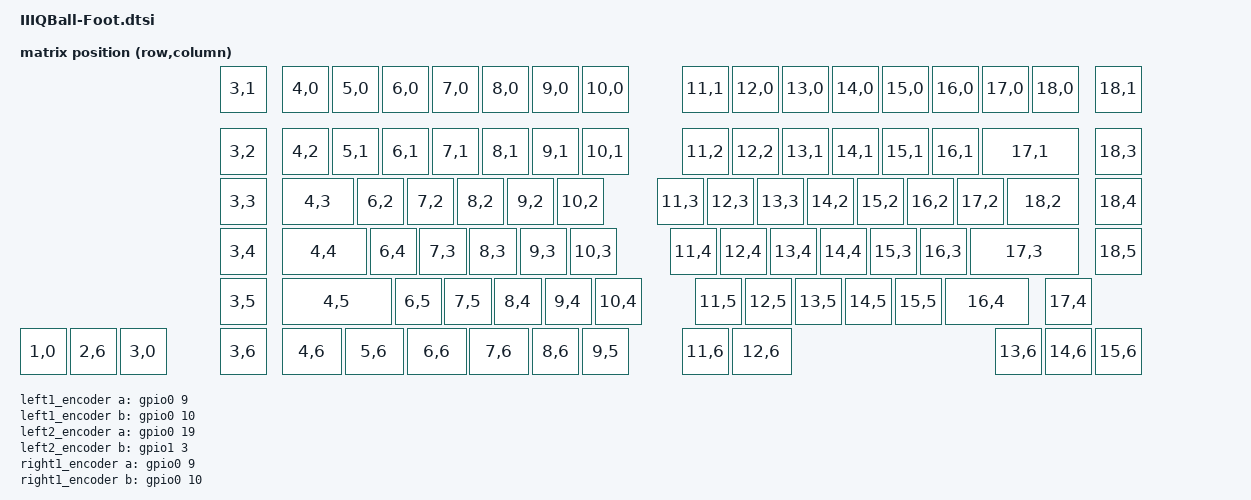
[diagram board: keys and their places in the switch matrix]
#include <dt-bindings/zmk/matrix_transform.h>
#include <dt-bindings/input/input-event-codes.h>
#include <physical_layouts.dtsi>

&uicr {
    nfct-pins-as-gpios;
};

/ {
    chosen {
        zmk,kscan = &kscan0;
        zmk,physical-layout = &physical_layout0;
    };

    physical_layout0: physical_layout0 {
        compatible = "zmk,physical-layout";
        display-name = "Default Layout";
        transform = <&default_transform>;
        kscan = <&kscan0>;
        keys  //                    w   h    x    y      rot     rx     ry
            
            = <&key_physical_attrs 100 100  400    0       0      0      0>

            , <&key_physical_attrs 100 100  525    0       0      0      0>
            , <&key_physical_attrs 100 100  625    0       0      0      0>
            , <&key_physical_attrs 100 100  725    0       0      0      0>
            , <&key_physical_attrs 100 100  825    0       0      0      0>
            , <&key_physical_attrs 100 100  925    0       0      0      0>
            , <&key_physical_attrs 100 100 1025    0       0      0      0>
            , <&key_physical_attrs 100 100 1125    0       0      0      0>

            , <&key_physical_attrs 100 100 1325    0       0      0      0>
            , <&key_physical_attrs 100 100 1425    0       0      0      0>
            , <&key_physical_attrs 100 100 1525    0       0      0      0>
            , <&key_physical_attrs 100 100 1625    0       0      0      0>
            , <&key_physical_attrs 100 100 1725    0       0      0      0>
            , <&key_physical_attrs 100 100 1825    0       0      0      0>
            , <&key_physical_attrs 100 100 1925    0       0      0      0>
            , <&key_physical_attrs 100 100 2025    0       0      0      0>

            , <&key_physical_attrs 100 100 2150    0       0      0      0>


        // Row 1
            , <&key_physical_attrs 100 100  400  125       0      0      0>

            , <&key_physical_attrs 100 100  525  125       0      0      0>
            , <&key_physical_attrs 100 100  625  125       0      0      0>
            , <&key_physical_attrs 100 100  725  125       0      0      0>
            , <&key_physical_attrs 100 100  825  125       0      0      0>
            , <&key_physical_attrs 100 100  925  125       0      0      0>
            , <&key_physical_attrs 100 100 1025  125       0      0      0>
            , <&key_physical_attrs 100 100 1125  125       0      0      0>

            , <&key_physical_attrs 100 100 1325  125       0      0      0>
            , <&key_physical_attrs 100 100 1425  125       0      0      0>
            , <&key_physical_attrs 100 100 1525  125       0      0      0>
            , <&key_physical_attrs 100 100 1625  125       0      0      0>
            , <&key_physical_attrs 100 100 1725  125       0      0      0>
            , <&key_physical_attrs 100 100 1825  125       0      0      0>
            , <&key_physical_attrs 200 100 1925  125       0      0      0>

            , <&key_physical_attrs 100 100 2150  125       0      0      0>


        // Row 2
            , <&key_physical_attrs 100 100  400  225       0      0      0>

            , <&key_physical_attrs 150 100  525  225       0      0      0>
            , <&key_physical_attrs 100 100  675  225       0      0      0>
            , <&key_physical_attrs 100 100  775  225       0      0      0>
            , <&key_physical_attrs 100 100  875  225       0      0      0>
            , <&key_physical_attrs 100 100  975  225       0      0      0>
            , <&key_physical_attrs 100 100 1075  225       0      0      0>

            , <&key_physical_attrs 100 100 1275  225       0      0      0>
            , <&key_physical_attrs 100 100 1375  225       0      0      0>
            , <&key_physical_attrs 100 100 1475  225       0      0      0>
            , <&key_physical_attrs 100 100 1575  225       0      0      0>
            , <&key_physical_attrs 100 100 1675  225       0      0      0>
            , <&key_physical_attrs 100 100 1775  225       0      0      0>
            , <&key_physical_attrs 100 100 1875  225       0      0      0>
            , <&key_physical_attrs 150 100 1975  225       0      0      0>

            , <&key_physical_attrs 100 100 2150  225       0      0      0>


        // Row 3
            , <&key_physical_attrs 100 100  400  325       0      0      0>

            , <&key_physical_attrs 175 100  525  325       0      0      0>
            , <&key_physical_attrs 100 100  700  325       0      0      0>
            , <&key_physical_attrs 100 100  800  325       0      0      0>
            , <&key_physical_attrs 100 100  900  325       0      0      0>
            , <&key_physical_attrs 100 100 1000  325       0      0      0>
            , <&key_physical_attrs 100 100 1100  325       0      0      0>

            , <&key_physical_attrs 100 100 1300  325       0      0      0>
            , <&key_physical_attrs 100 100 1400  325       0      0      0>
            , <&key_physical_attrs 100 100 1500  325       0      0      0>
            , <&key_physical_attrs 100 100 1600  325       0      0      0>
            , <&key_physical_attrs 100 100 1700  325       0      0      0>
            , <&key_physical_attrs 100 100 1800  325       0      0      0>
            , <&key_physical_attrs 225 100 1900  325       0      0      0>

            , <&key_physical_attrs 100 100 2150  325       0      0      0>


        // Row 4
            , <&key_physical_attrs 100 100  400  425       0      0      0>

            , <&key_physical_attrs 225 100  525  425       0      0      0>
            , <&key_physical_attrs 100 100  750  425       0      0      0>
            , <&key_physical_attrs 100 100  850  425       0      0      0>
            , <&key_physical_attrs 100 100  950  425       0      0      0>
            , <&key_physical_attrs 100 100 1050  425       0      0      0>
            , <&key_physical_attrs 100 100 1150  425       0      0      0>

            , <&key_physical_attrs 100 100 1350  425       0      0      0>
            , <&key_physical_attrs 100 100 1450  425       0      0      0>
            , <&key_physical_attrs 100 100 1550  425       0      0      0>
            , <&key_physical_attrs 100 100 1650  425       0      0      0>
            , <&key_physical_attrs 100 100 1750  425       0      0      0>
            , <&key_physical_attrs 175 100 1850  425       0      0      0>

            , <&key_physical_attrs 100 100 2050  425       0      0      0>


        // Row 5
            , <&key_physical_attrs 100 100  0    525       0      0      0>
            , <&key_physical_attrs 100 100  100  525       0      0      0>
            , <&key_physical_attrs 100 100  200  525       0      0      0>


            , <&key_physical_attrs 100 100  400  525       0      0      0>

            , <&key_physical_attrs 125 100  525  525       0      0      0>
            , <&key_physical_attrs 125 100  650  525       0      0      0>
            , <&key_physical_attrs 125 100  775  525       0      0      0>
            , <&key_physical_attrs 125 100  900  525       0      0      0>
            , <&key_physical_attrs 100 100 1025  525       0      0      0>
            , <&key_physical_attrs 100 100 1125  525       0      0      0>

            , <&key_physical_attrs 100 100 1325  525       0      0      0>
            , <&key_physical_attrs 125 100 1425  525       0      0      0>

            , <&key_physical_attrs 100 100 1950  525       0      0      0>
            , <&key_physical_attrs 100 100 2050  525       0      0      0>
            , <&key_physical_attrs 100 100 2150  525       0      0      0>
            ;
    };

    default_transform: keymap_transform0 {
        compatible = "zmk,matrix-transform";
        columns = <7>;
        rows = <19>;
        map = <
                                RC(3,1) RC(4,0) RC(5,0) RC(6,0) RC(7,0) RC(8,0) RC(9,0) RC(10,0)     RC(11,1) RC(12,0) RC(13,0) RC(14,0) RC(15,0) RC(16,0) RC(17,0) RC(18,0) RC(18,1)
                                RC(3,2) RC(4,2) RC(5,1) RC(6,1) RC(7,1) RC(8,1) RC(9,1) RC(10,1)     RC(11,2) RC(12,2) RC(13,1) RC(14,1) RC(15,1) RC(16,1) RC(17,1)          RC(18,3)
                                RC(3,3) RC(4,3)         RC(6,2) RC(7,2) RC(8,2) RC(9,2) RC(10,2)     RC(11,3) RC(12,3) RC(13,3) RC(14,2) RC(15,2) RC(16,2) RC(17,2) RC(18,2) RC(18,4)
                                RC(3,4) RC(4,4)         RC(6,4) RC(7,3) RC(8,3) RC(9,3) RC(10,3)     RC(11,4) RC(12,4) RC(13,4) RC(14,4) RC(15,3) RC(16,3) RC(17,3)          RC(18,5)
                                RC(3,5) RC(4,5)         RC(6,5) RC(7,5) RC(8,4) RC(9,4) RC(10,4)     RC(11,5) RC(12,5) RC(13,5) RC(14,5) RC(15,5) RC(16,4)           RC(17,4)
    RC(1,0) RC(2,6) RC(3,0)     RC(3,6) RC(4,6) RC(5,6) RC(6,6) RC(7,6)         RC(8,6) RC(9,5)      RC(11,6) RC(12,6)                                     RC(13,6) RC(14,6) RC(15,6)
        >;
    };

    kscan0: kscan0 {
        compatible = "zmk,kscan-gpio-charlieplex";
        wakeup-source;
    };


    left1_encoder: encoder_left1 {
        compatible = "alps,ec11";
        a-gpios = <&gpio0 9 (GPIO_ACTIVE_HIGH | GPIO_PULL_UP)>;
        b-gpios = <&gpio0 10 (GPIO_ACTIVE_HIGH | GPIO_PULL_UP)>;
        steps = <40>;
        status = "disabled";
    };
    left2_encoder: encoder_left2 {
        compatible = "alps,ec11";
        a-gpios = <&gpio0 19 (GPIO_ACTIVE_HIGH | GPIO_PULL_UP)>;
        b-gpios = <&gpio1 3 (GPIO_ACTIVE_HIGH | GPIO_PULL_UP)>;
        steps = <80>;
        status = "disabled";
    };

    right1_encoder: encoder_right1 {
        compatible = "alps,ec11";
        a-gpios = <&gpio0 9 (GPIO_ACTIVE_HIGH | GPIO_PULL_UP)>;
        b-gpios = <&gpio0 10 (GPIO_ACTIVE_HIGH | GPIO_PULL_UP)>;
        steps = <40>;
        status = "disabled";
    };
    right2_encoder: encoder_right2 {
        compatible = "alps,ec11";
        a-gpios = <&gpio0 19 (GPIO_ACTIVE_HIGH | GPIO_PULL_UP)>;
        b-gpios = <&gpio1 1 (GPIO_ACTIVE_HIGH | GPIO_PULL_UP)>;
        steps = <80>;
        status = "disabled";
    };

    sensors: sensors {
        compatible = "zmk,keymap-sensors";
        sensors = <&left1_encoder &left2_encoder &right1_encoder &right2_encoder>;
        triggers-per-rotation = <20>;
    };
};

&pinctrl {
    spi0_default: spi0_default {
        group1 {
            psels = <NRF_PSEL(SPIM_SCK, 0, 5)>,
                    <NRF_PSEL(SPIM_MOSI, 0, 4)>,
                    <NRF_PSEL(SPIM_MISO, 0, 4)>;
        };
    };
    spi0_sleep: spi0_sleep {
        group1 {
            psels = <NRF_PSEL(SPIM_SCK, 0, 5)>,
                    <NRF_PSEL(SPIM_MOSI, 0, 4)>,
                    <NRF_PSEL(SPIM_MISO, 0, 4)>;
            low-power-enable;
        };
    };
};

&spi0 {
    status = "disabled";
    compatible = "nordic,nrf-spim";
    pinctrl-0 = <&spi0_default>;
    pinctrl-1 = <&spi0_sleep>;
    pinctrl-names = "default", "sleep";
    cs-gpios = <&gpio0 15 GPIO_ACTIVE_LOW>;

    trackball: trackball@0 {
        status = "disabled";
        compatible = "pixart,pmw3610";
        reg = <0>;
        spi-max-frequency = <2000000>;
        /* motion-gpios を削除しました */
        res-cpi = <600>;
        zephyr,axis-x = <INPUT_REL_Y>;
        zephyr,axis-y = <INPUT_REL_X>;
        invert-y;
        force-awake;
    };
};

/ {
  trackball_listener: trackball_listener {
    compatible = "zmk,input-listener";
    status = "disabled";
    device = <&trackball>;
  };
};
